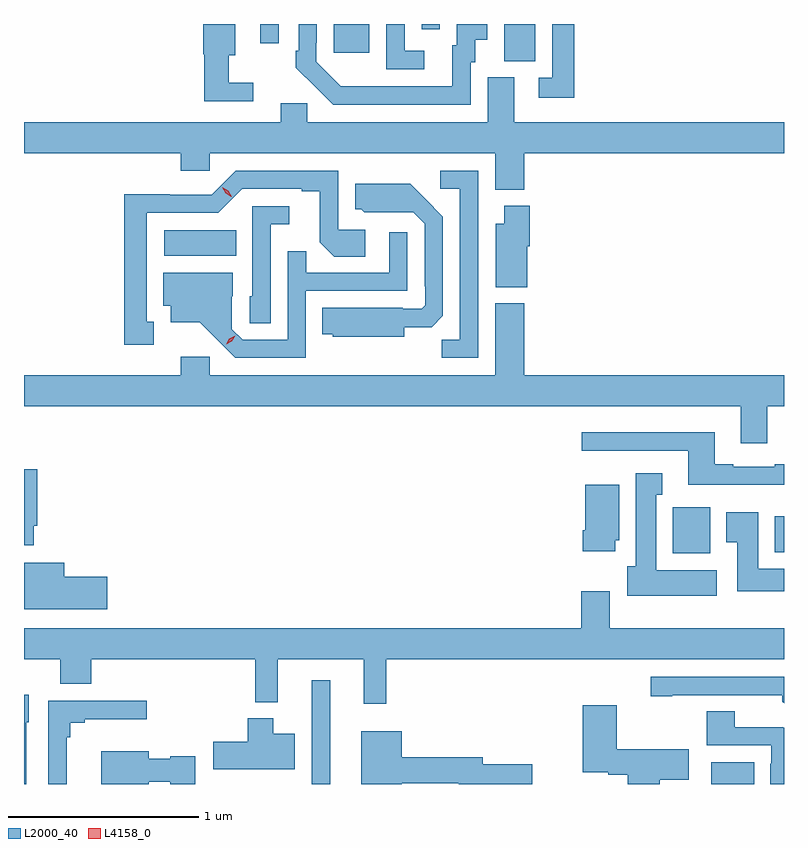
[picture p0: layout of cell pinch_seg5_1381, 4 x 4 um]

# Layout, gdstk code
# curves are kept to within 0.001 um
import gdstk
lib = gdstk.Library(unit=1e-6, precision=1e-09)
def R(c, l, rs):  # rectangles x0, y0, x1, y1
    for r in rs: c.add(gdstk.rectangle(r[:2], r[2:], *l))
def P(c, l, *ps):  # polygons
    for p in ps: c.add(gdstk.Polygon(p, *l))
L2000_40 = (2000, 40)
L4158_0 = (4158, 0)

pinch_seg5_1381 = lib.new_cell('pinch_seg5_1381')
R(pinch_seg5_1381, L2000_40, [(148.143,901.392,148.24,901.939), (150.245,901.392,150.472,901.507), (150.044,902.606,150.241,902.848), (150.581,902.612,150.629,902.8), (147.366,904.172,147.746,904.306), (149.156,905.197,149.32,905.392), (148.259,905.241,148.447,905.392), (147.873,905.292,147.969,905.392), (148.722,905.364,148.818,905.392)])
P(pinch_seg5_1381, L2000_40, [(148.98,905.19),(149.005,905.19),(149.005,905.309),(149.068,905.309),(149.068,905.392),(148.907,905.392),(148.907,905.28),(148.883,905.28),(148.883,905.064),(148.296,905.065),(148.167,905.193),(148.167,905.293),(148.17,905.293),(148.17,905.392),(148.074,905.392),(148.074,905.251),(148.059,905.251),(148.059,905.163),(148.256,904.968),(148.98,904.968)],
  [(147.835,905.083),(147.706,905.083),(147.706,905.228),(147.742,905.228),(147.742,905.392),(147.572,905.392),(147.572,905.232),(147.577,905.232),(147.577,904.986),(147.835,904.986)],
  [(149.525,905.392),(149.409,905.392),(149.409,905.109),(149.337,905.109),(149.337,905.004),(149.525,905.004)],
  [(148.735,905.25),(148.632,905.25),(148.632,905.392),(148.536,905.392),(148.536,905.154),(148.735,905.154)],
  [(149.261,904.712),(150.629,904.712),(150.629,904.876),(149.209,904.876),(149.209,905.112),(149.069,905.112),(149.069,904.876),(148.119,904.876),(148.119,904.974),(147.98,904.974),(147.98,904.876),(146.629,904.876),(146.629,904.712),(147.455,904.712),(147.455,904.619),(147.606,904.619),(147.606,904.712),(149.108,904.712),(149.108,904.52),(149.261,904.52)],
  [(149.019,904.62),(148.821,904.62),(148.821,904.524),(148.923,904.524),(148.923,903.731),(148.828,903.731),(148.828,903.636),(149.019,903.636)],
  [(147.313,903.825),(147.274,903.825),(147.274,904.398),(147.651,904.398),(147.777,904.524),(148.091,904.524),(148.091,904.512),(148.185,904.512),(148.185,904.244),(148.261,904.168),(148.426,904.168),(148.426,904.308),(148.284,904.308),(148.284,904.62),(147.744,904.62),(147.618,904.494),(147.396,904.494),(147.396,904.496),(147.156,904.496),(147.156,903.705),(147.313,903.705)],
  [(148.63,903.797),(148.774,903.797),(148.833,903.856),(148.833,904.378),(148.661,904.552),(148.373,904.552),(148.373,904.416),(148.404,904.416),(148.42,904.4),(148.677,904.401),(148.737,904.341),(148.737,904.012),(148.74,904.012),(148.74,903.912),(148.722,903.894),(148.622,903.894),(148.622,903.898),(148.198,903.898),(148.198,903.758),(148.254,903.758),(148.254,903.746),(148.63,903.746)],
  [(149.278,904.221),(149.291,904.221),(149.291,904.435),(149.156,904.435),(149.156,904.342),(149.111,904.342),(149.111,904.007),(149.278,904.007)],
  [(147.927,904.337),(148.024,904.337),(148.024,904.434),(147.831,904.434),(147.831,903.96),(147.816,903.96),(147.816,903.817),(147.927,903.817)],
  [(148.113,903.987),(148.647,903.987),(148.647,904.297),(148.551,904.297),(148.551,904.083),(148.115,904.083),(148.115,904.196),(148.017,904.196),(148.017,903.729),(147.78,903.729),(147.723,903.786),(147.723,903.96),(147.727,903.96),(147.727,904.084),(147.362,904.084),(147.362,903.908),(147.401,903.908),(147.401,903.821),(147.553,903.821),(147.74,903.636),(148.113,903.636)],
  [(150.541,903.38),(150.629,903.38),(150.629,903.544),(149.261,903.544),(149.261,903.922),(149.108,903.922),(149.108,903.544),(147.606,903.544),(147.606,903.64),(147.455,903.64),(147.455,903.544),(146.629,903.544),(146.629,903.38),(150.401,903.38),(150.401,903.186),(150.541,903.186)],
  [(150.629,903.076),(150.581,903.076),(150.581,903.063),(150.361,903.063),(150.361,903.076),(150.265,903.076),(150.265,903.244),(149.565,903.244),(149.565,903.147),(150.125,903.147),(150.125,902.966),(150.629,902.966)],
  [(146.679,902.752),(146.699,902.752),(146.699,903.049),(146.629,903.049),(146.629,902.648),(146.679,902.648)],
  [(150.274,902.518),(149.956,902.518),(149.956,902.915),(149.989,902.915),(149.989,903.028),(149.849,903.028),(149.849,902.538),(149.804,902.538),(149.804,902.384),(150.274,902.384)],
  [(149.74,902.676),(149.761,902.676),(149.761,902.968),(149.582,902.968),(149.582,902.728),(149.57,902.728),(149.57,902.616),(149.74,902.616)],
  [(150.629,902.524),(150.493,902.524),(150.493,902.821),(150.326,902.821),(150.326,902.665),(150.383,902.665),(150.383,902.406),(150.629,902.406)],
  [(147.067,902.483),(146.842,902.483),(146.842,902.557),(146.629,902.557),(146.629,902.312),(147.067,902.312)],
  [(148.535,902.048),(150.629,902.048),(150.629,902.212),(149.713,902.212),(149.713,902.407),(149.561,902.407),(149.561,902.212),(146.629,902.212),(146.629,902.048),(146.819,902.048),(146.819,901.92),(146.983,901.92),(146.983,902.048),(147.847,902.048),(147.847,901.823),(147.965,901.823),(147.965,902.048),(148.418,902.048),(148.418,901.815),(148.535,901.815)],
  [(150.629,901.956),(149.928,901.956),(149.928,901.855),(150.04,901.855),(150.04,901.86),(150.62,901.86),(150.62,901.826),(150.629,901.817)],
  [(146.64,901.716),(146.653,901.716),(146.653,901.861),(146.629,901.861),(146.629,901.392),(146.64,901.392)],
  [(146.855,901.637),(146.873,901.637),(146.873,901.714),(146.95,901.714),(146.95,901.733),(147.274,901.733),(147.274,901.83),(146.757,901.83),(146.757,901.392),(146.855,901.392)],
  [(149.974,901.414),(150.127,901.414),(150.127,901.576),(149.748,901.576),(149.748,901.807),(149.57,901.807),(149.57,901.454),(149.705,901.454),(149.705,901.442),(149.807,901.442),(149.807,901.392),(149.974,901.392)],
  [(150.629,901.687),(150.624,901.692),(150.37,901.692),(150.37,901.775),(150.223,901.775),(150.223,901.596),(150.561,901.596),(150.561,901.499),(150.557,901.499),(150.557,901.392),(150.629,901.392)],
  [(148.054,901.657),(147.94,901.657),(147.94,901.738),(147.806,901.738),(147.806,901.614),(147.624,901.614),(147.624,901.469),(148.054,901.469)],
  [(148.618,901.396),(148.916,901.396),(148.916,901.392),(149.305,901.392),(149.305,901.496),(149.044,901.496),(149.044,901.532),(148.618,901.532),(148.618,901.669),(148.403,901.669),(148.403,901.392),(148.618,901.392)],
  [(147.286,901.403),(147.399,901.403),(147.399,901.392),(147.529,901.392),(147.529,901.538),(147.399,901.538),(147.399,901.525),(147.286,901.525),(147.286,901.564),(147.035,901.564),(147.035,901.392),(147.286,901.392)])
P(pinch_seg5_1381, L4158_0, [(147.693,903.707),(147.693,903.707),(147.71,903.736),(147.74,903.752),(147.741,903.752),(147.741,903.752),(147.723,903.722),(147.693,903.707)],
  [(147.721,904.482),(147.69,904.501),(147.672,904.533),(147.672,904.533),(147.672,904.533),(147.704,904.515),(147.722,904.482),(147.722,904.482)])

lib.write_gds('pinch_seg5_1381.gds')
